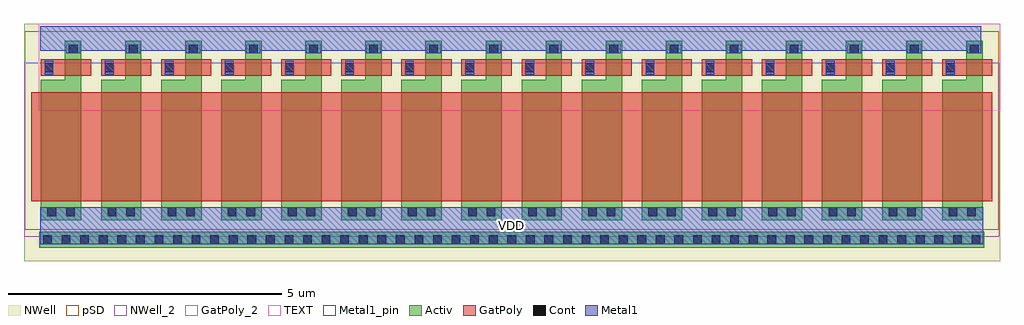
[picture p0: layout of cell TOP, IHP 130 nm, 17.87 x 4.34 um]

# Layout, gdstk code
import gdstk
lib = gdstk.Library(unit=1e-6, precision=1e-09)
def R(c, l, rs):  # rectangles x0, y0, x1, y1
    for r in rs: c.add(gdstk.rectangle(r[:2], r[2:], *l))
def A(c, l, x, y, w, h, nx, ny, dx, dy):  # array of equal rectangles
    R(c, l, [(x+i*dx, y+j*dy, x+i*dx+w, y+j*dy+h) for i in range(nx) for j in range(ny)])
Activ = (1, 0)
GatPoly = (5, 0)
GatPoly_2 = (5, 2)
Cont = (6, 0)
Metal1 = (8, 0)
Metal1_pin = (8, 2)
pSD = (14, 0)
NWell = (31, 0)
NWell_2 = (31, 2)
TEXT = (63, 0)

switchedpmoscascode_1 = lib.new_cell('SwitchedPMOSCascode$1')
R(switchedpmoscascode_1, Activ, [(0.29,-0.38,0.59,0.49)])
R(switchedpmoscascode_1, GatPoly, [(-0.15,-0.15,0.77,0.15)])
R(switchedpmoscascode_1, Cont, [(-0.08,-0.08,0.08,0.08), (0.36,0.26,0.52,0.42)])
R(switchedpmoscascode_1, Metal1, [(-0.08,-0.13,0.08,0.13), (0.31,0.26,0.57,0.42)])
R(switchedpmoscascode_1, pSD, [(-0.01,-0.56,0.89,0.67)])
R(switchedpmoscascode_1, NWell, [(-0.03,-0.79,0.91,0.8)])
R(switchedpmoscascode_1, TEXT, [(-0.19,-0.79,0.91,0.8)])

pcascsrc = lib.new_cell('PCASCSRC')
R(pcascsrc, Activ, [(-0.15,-2.79,0.59,-0.22)])
R(pcascsrc, GatPoly, [(-0.33,-2.45,0.77,-0.45)])
R(pcascsrc, GatPoly_2, [(-0.33,-2.45,0.77,-0.45)])
R(pcascsrc, Cont, [(-0.03,-2.72,0.13,-2.56), (0.31,-2.72,0.47,-2.56)])
R(pcascsrc, Metal1, [(-0.08,-2.72,0.52,-2.56)])
R(pcascsrc, Metal1_pin, [(-0.08,-2.72,0.52,-2.56), (-0.08,-0.13,0.08,0.13), (0.31,0.26,0.57,0.42)])
R(pcascsrc, pSD, [(-0.45,-2.97,0.89,-0.04)])
R(pcascsrc, NWell, [(-0.46,-3.1,0.9,0.09)])
R(pcascsrc, NWell_2, [(-0.46,-3.1,0.9,0.09)])
pcascsrc.add(gdstk.Reference(switchedpmoscascode_1, (0,0)))
pcascsrc.add(gdstk.Label('VDD', (0.22,-2.64), layer=8, texttype=1))
pcascsrc.add(gdstk.Label('VcascodeP', (0,0), layer=8, texttype=1))
pcascsrc.add(gdstk.Label('Iout', (0.44,0.34), layer=8, texttype=1))
pcascsrc.add(gdstk.Label('VbiasP', (0.22,-1.45), layer=5, texttype=1))
pcascsrc.add(gdstk.Label('NWELL', (0.22,-1.505), layer=31, texttype=1))

top = lib.new_cell('TOP')
R(top, Activ, [(-0.18,-3.3,17.12,-3), (-0.11,-3.23,0.05,-3.07)])
A(top, Cont, -0.11, -3.23, 0.16, 0.16, 51, 1, 0.34, 0)
R(top, Metal1, [(-0.16,-3.23,17.1,-2.56), (-0.16,0.31,17.07,0.76)])
R(top, Metal1_pin, [(-0.16,-3.23,17.1,-2.56)])
R(top, pSD, [(-0.45,-0.56,17.39,0.67)])
R(top, NWell, [(-0.46,-3.54,17.41,0.8)])
r = gdstk.Reference(pcascsrc, (0,0)); r.repetition = gdstk.Repetition(16, 1, v1=(1.1,0), v2=(0,0)); top.add(r)
top.add(gdstk.Label('VDD', (8.47,-2.895), layer=8, texttype=1))

lib.write_gds('TOP.gds')
